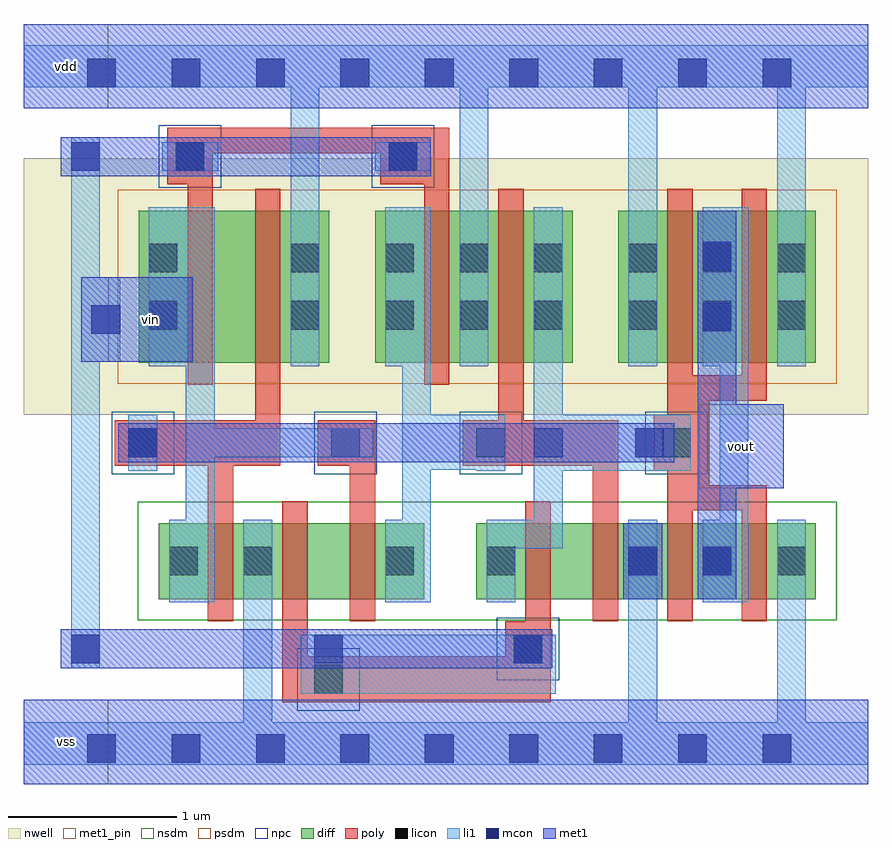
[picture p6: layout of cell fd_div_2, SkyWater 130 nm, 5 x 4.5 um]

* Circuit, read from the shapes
.subckt fd_div_2 vdd vin vout vss
XM1 vss sky130_fd_pr__nfet_01v8_sc_dff_m8_3/D sky130_fd_pr__nfet_01v8_sc_dff_m3_8/D VSUBS sky130_fd_pr__nfet_01v8 w=0.45 l=0.15
XM2 sky130_fd_pr__nfet_01v8_sc_dff_m6_5/D vin vss VSUBS sky130_fd_pr__nfet_01v8 w=0.45 l=0.15
XM3 sky130_fd_pr__nfet_01v8_sc_dff_m5_6/D sky130_fd_pr__nfet_01v8_sc_dff_m3_8/D sky130_fd_pr__nfet_01v8_sc_dff_m6_5/D VSUBS sky130_fd_pr__nfet_01v8 w=0.45 l=0.15
XM4 sky130_fd_pr__nfet_01v8_sc_dff_m9_2/D vin sky130_fd_pr__nfet_01v8_sc_dff_m8_3/D VSUBS sky130_fd_pr__nfet_01v8 w=0.45 l=0.15
XM5 vss sky130_fd_pr__nfet_01v8_sc_dff_m5_6/D sky130_fd_pr__nfet_01v8_sc_dff_m9_2/D VSUBS sky130_fd_pr__nfet_01v8 w=0.45 l=0.15
XM6 vout sky130_fd_pr__nfet_01v8_sc_dff_m8_3/D vss VSUBS sky130_fd_pr__nfet_01v8 w=0.45 l=0.15 m=2
XM7 sky130_fd_pr__pfet_01v8_sc_dff_m1_10/D vin sky130_fd_pr__nfet_01v8_sc_dff_m3_8/D n1 sky130_fd_pr__pfet_01v8 w=0.9 l=0.15
XM8 vdd sky130_fd_pr__nfet_01v8_sc_dff_m8_3/D sky130_fd_pr__pfet_01v8_sc_dff_m1_10/D n1 sky130_fd_pr__pfet_01v8 w=0.9 l=0.15
XM9 vdd vin sky130_fd_pr__nfet_01v8_sc_dff_m5_6/D n1 sky130_fd_pr__pfet_01v8 w=0.9 l=0.15
XM10 sky130_fd_pr__nfet_01v8_sc_dff_m8_3/D sky130_fd_pr__nfet_01v8_sc_dff_m5_6/D vdd n1 sky130_fd_pr__pfet_01v8 w=0.9 l=0.15
XM11 vout sky130_fd_pr__nfet_01v8_sc_dff_m8_3/D vdd n1 sky130_fd_pr__pfet_01v8 w=0.9 l=0.15 m=2
.ends

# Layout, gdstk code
from math import pi, radians
import gdstk
lib = gdstk.Library(unit=1e-6, precision=1e-09)
def R(c, l, rs):  # rectangles x0, y0, x1, y1
    for r in rs: c.add(gdstk.rectangle(r[:2], r[2:], *l))
def A(c, l, x, y, w, h, nx, ny, dx, dy):  # array of equal rectangles
    R(c, l, [(x+i*dx, y+j*dy, x+i*dx+w, y+j*dy+h) for i in range(nx) for j in range(ny)])
nwell = (64, 20)
diff = (65, 20)
poly = (66, 20)
licon = (66, 44)
li1 = (67, 20)
mcon = (67, 44)
met1_pin = (68, 16)
met1 = (68, 20)
nsdm = (93, 44)
psdm = (94, 20)
npc = (95, 20)

sky130_fd_pr__nfet_01v8_ = lib.new_cell('sky130_fd_pr__nfet_01v8_scc_inv_m2')
R(sky130_fd_pr__nfet_01v8_, diff, [(7.265,-4.22,8.435,-3.77)])
R(sky130_fd_pr__nfet_01v8_, poly, [(7.555,-4.35,7.705,-3.695), (7.995,-4.35,8.145,-3.695), (7.555,-3.695,8.145,-3.545)])
A(sky130_fd_pr__nfet_01v8_, licon, 7.325, -4.08, 0.17, 0.17, 3, 1, 0.44, 0)
A(sky130_fd_pr__nfet_01v8_, li1, 7.325, -4.24, 0.17, 0.49, 3, 1, 0.44, 0)
R(sky130_fd_pr__nfet_01v8_, mcon, [(7.765,-4.08,7.935,-3.91)])
R(sky130_fd_pr__nfet_01v8_, met1, [(7.735,-4.22,7.965,-3.77)])
R(sky130_fd_pr__nfet_01v8_, nsdm, [(7.14,-4.345,8.56,-3.645)])
sky130_fd_pr__nfet_01v8_.add(gdstk.Label('D0', (7.85,-3.995), layer=67, texttype=5))
sky130_fd_pr__nfet_01v8_.add(gdstk.Label('S0', (7.41,-3.995), layer=67, texttype=5))
sky130_fd_pr__nfet_01v8_.add(gdstk.Label('D1', (7.85,-3.995), layer=67, texttype=5))
sky130_fd_pr__nfet_01v8_.add(gdstk.Label('S1', (8.29,-3.995), layer=67, texttype=5))

sky130_fd_pr__pfet_01v8_ = lib.new_cell('sky130_fd_pr__pfet_01v8_scc_inv_m1')
R(sky130_fd_pr__pfet_01v8_, nwell, [(6.85,-4.65,8.38,-3.13)])
R(sky130_fd_pr__pfet_01v8_, diff, [(7.03,-4.34,8.2,-3.44)])
R(sky130_fd_pr__pfet_01v8_, poly, [(7.32,-4.565,7.91,-4.415), (7.32,-4.415,7.47,-3.31), (7.76,-4.415,7.91,-3.31)])
A(sky130_fd_pr__pfet_01v8_, licon, 7.09, -4.145, 0.17, 0.17, 3, 2, 0.44, 0.34)
A(sky130_fd_pr__pfet_01v8_, li1, 7.09, -4.36, 0.17, 0.94, 3, 1, 0.44, 0)
R(sky130_fd_pr__pfet_01v8_, mcon, [(7.53,-4.155,7.7,-3.985), (7.53,-3.795,7.7,-3.625)])
R(sky130_fd_pr__pfet_01v8_, met1, [(7.5,-4.34,7.73,-3.44)])
R(sky130_fd_pr__pfet_01v8_, psdm, [(6.905,-4.465,8.325,-3.315)])
sky130_fd_pr__pfet_01v8_.add(gdstk.Label('D0', (7.615,-3.89), layer=67, texttype=5))
sky130_fd_pr__pfet_01v8_.add(gdstk.Label('S0', (7.175,-3.89), layer=67, texttype=5))
sky130_fd_pr__pfet_01v8_.add(gdstk.Label('D1', (7.615,-3.89), layer=67, texttype=5))
sky130_fd_pr__pfet_01v8_.add(gdstk.Label('S1', (8.055,-3.89), layer=67, texttype=5))

c_sky130_fd_pr__nfet_01v8_ = lib.new_cell('sky130_fd_pr__nfet_01v8_sc_dff_m9')
R(c_sky130_fd_pr__nfet_01v8_, diff, [(-0.325,-0.225,0.365,0.225)])
R(c_sky130_fd_pr__nfet_01v8_, poly, [(-0.075,-0.355,0.075,0.355)])
R(c_sky130_fd_pr__nfet_01v8_, licon, [(0.135,-0.085,0.305,0.085)])
R(c_sky130_fd_pr__nfet_01v8_, li1, [(0.135,-0.245,0.305,0.245)])
R(c_sky130_fd_pr__nfet_01v8_, mcon, [(0.135,-0.085,0.305,0.085)])
R(c_sky130_fd_pr__nfet_01v8_, met1, [(0.105,-0.225,0.335,0.225)])
R(c_sky130_fd_pr__nfet_01v8_, nsdm, [(-0.45,-0.35,0.49,0.35)])
c_sky130_fd_pr__nfet_01v8_.add(gdstk.Label('D', (-0.22,0), layer=65, texttype=6))
c_sky130_fd_pr__nfet_01v8_.add(gdstk.Label('S', (0.22,0), layer=67, texttype=5))

c_sky130_fd_pr__nfet_01v8__ = lib.new_cell('sky130_fd_pr__nfet_01v8_sc_dff_m8')
R(c_sky130_fd_pr__nfet_01v8__, diff, [(-0.365,-0.225,0.325,0.225)])
R(c_sky130_fd_pr__nfet_01v8__, poly, [(-0.075,-0.355,0.075,0.355)])
R(c_sky130_fd_pr__nfet_01v8__, licon, [(-0.305,-0.085,-0.135,0.085)])
R(c_sky130_fd_pr__nfet_01v8__, li1, [(-0.305,-0.245,-0.135,0.245)])
R(c_sky130_fd_pr__nfet_01v8__, nsdm, [(-0.49,-0.35,0.45,0.35)])
c_sky130_fd_pr__nfet_01v8__.add(gdstk.Label('D', (-0.22,0), layer=67, texttype=5))
c_sky130_fd_pr__nfet_01v8__.add(gdstk.Label('S', (0.22,0), layer=65, texttype=6))

c_sky130_fd_pr__pfet_01v8_ = lib.new_cell('sky130_fd_pr__pfet_01v8_sc_dff_m7')
R(c_sky130_fd_pr__pfet_01v8_, nwell, [(-0.545,-0.76,0.545,0.76)])
R(c_sky130_fd_pr__pfet_01v8_, diff, [(-0.365,-0.45,0.365,0.45)])
R(c_sky130_fd_pr__pfet_01v8_, poly, [(-0.075,-0.58,0.075,0.58)])
R(c_sky130_fd_pr__pfet_01v8_, licon, [(-0.305,-0.255,-0.135,-0.085), (0.135,-0.255,0.305,-0.085), (-0.305,0.085,-0.135,0.255), (0.135,0.085,0.305,0.255)])
R(c_sky130_fd_pr__pfet_01v8_, li1, [(-0.305,-0.47,-0.135,0.47), (0.135,-0.47,0.305,0.47)])
R(c_sky130_fd_pr__pfet_01v8_, psdm, [(-0.49,-0.575,0.49,0.575)])
c_sky130_fd_pr__pfet_01v8_.add(gdstk.Label('D', (-0.22,0), layer=67, texttype=5))
c_sky130_fd_pr__pfet_01v8_.add(gdstk.Label('S', (0.22,0), layer=67, texttype=5))

c_sky130_fd_pr__nfet_01v8___ = lib.new_cell('sky130_fd_pr__nfet_01v8_sc_dff_m6')
R(c_sky130_fd_pr__nfet_01v8___, diff, [(-0.325,-0.225,0.365,0.225)])
R(c_sky130_fd_pr__nfet_01v8___, poly, [(-0.075,-0.355,0.075,0.355)])
R(c_sky130_fd_pr__nfet_01v8___, licon, [(0.135,-0.085,0.305,0.085)])
R(c_sky130_fd_pr__nfet_01v8___, li1, [(0.135,-0.245,0.305,0.245)])
R(c_sky130_fd_pr__nfet_01v8___, nsdm, [(-0.45,-0.35,0.49,0.35)])
c_sky130_fd_pr__nfet_01v8___.add(gdstk.Label('D', (-0.22,0), layer=65, texttype=6))
c_sky130_fd_pr__nfet_01v8___.add(gdstk.Label('S', (0.22,0), layer=67, texttype=5))

c_sky130_fd_pr__nfet_01v8____ = lib.new_cell('sky130_fd_pr__nfet_01v8_sc_dff_m5')
R(c_sky130_fd_pr__nfet_01v8____, diff, [(-0.365,-0.225,0.325,0.225)])
R(c_sky130_fd_pr__nfet_01v8____, poly, [(-0.075,-0.355,0.075,0.355)])
R(c_sky130_fd_pr__nfet_01v8____, licon, [(-0.305,-0.085,-0.135,0.085)])
R(c_sky130_fd_pr__nfet_01v8____, li1, [(-0.305,-0.245,-0.135,0.245)])
R(c_sky130_fd_pr__nfet_01v8____, nsdm, [(-0.49,-0.35,0.45,0.35)])
c_sky130_fd_pr__nfet_01v8____.add(gdstk.Label('D', (-0.22,0), layer=67, texttype=5))
c_sky130_fd_pr__nfet_01v8____.add(gdstk.Label('S', (0.22,0), layer=65, texttype=6))

c_sky130_fd_pr__pfet_01v8__ = lib.new_cell('sky130_fd_pr__pfet_01v8_sc_dff_m4')
R(c_sky130_fd_pr__pfet_01v8__, nwell, [(-0.545,-0.76,0.545,0.76)])
R(c_sky130_fd_pr__pfet_01v8__, diff, [(-0.365,-0.45,0.365,0.45)])
R(c_sky130_fd_pr__pfet_01v8__, poly, [(-0.075,-0.58,0.075,0.58)])
R(c_sky130_fd_pr__pfet_01v8__, licon, [(-0.305,-0.255,-0.135,-0.085), (0.135,-0.255,0.305,-0.085), (-0.305,0.085,-0.135,0.255), (0.135,0.085,0.305,0.255)])
R(c_sky130_fd_pr__pfet_01v8__, li1, [(-0.305,-0.47,-0.135,0.47), (0.135,-0.47,0.305,0.47)])
R(c_sky130_fd_pr__pfet_01v8__, psdm, [(-0.49,-0.575,0.49,0.575)])
c_sky130_fd_pr__pfet_01v8__.add(gdstk.Label('D', (-0.22,0), layer=67, texttype=5))
c_sky130_fd_pr__pfet_01v8__.add(gdstk.Label('S', (0.22,0), layer=67, texttype=5))

c_sky130_fd_pr__nfet_01v8_____ = lib.new_cell('sky130_fd_pr__nfet_01v8_sc_dff_m3')
R(c_sky130_fd_pr__nfet_01v8_____, diff, [(4.75,-7.11,5.48,-6.66)])
R(c_sky130_fd_pr__nfet_01v8_____, poly, [(5.04,-7.24,5.19,-6.53)])
R(c_sky130_fd_pr__nfet_01v8_____, licon, [(4.81,-6.97,4.98,-6.8), (5.25,-6.97,5.42,-6.8)])
R(c_sky130_fd_pr__nfet_01v8_____, li1, [(4.81,-7.13,4.98,-6.64), (5.25,-7.13,5.42,-6.64)])
R(c_sky130_fd_pr__nfet_01v8_____, nsdm, [(4.625,-7.235,5.605,-6.535)])
c_sky130_fd_pr__nfet_01v8_____.add(gdstk.Label('D', (4.895,-6.885), layer=67, texttype=5))
c_sky130_fd_pr__nfet_01v8_____.add(gdstk.Label('S', (5.335,-6.885), layer=67, texttype=5))

c_sky130_fd_pr__pfet_01v8___ = lib.new_cell('sky130_fd_pr__pfet_01v8_sc_dff_m2')
R(c_sky130_fd_pr__pfet_01v8___, nwell, [(-0.545,-0.76,0.505,0.76)])
R(c_sky130_fd_pr__pfet_01v8___, diff, [(-0.365,-0.45,0.325,0.45)])
R(c_sky130_fd_pr__pfet_01v8___, poly, [(-0.075,-0.58,0.075,0.58)])
R(c_sky130_fd_pr__pfet_01v8___, licon, [(-0.305,-0.255,-0.135,-0.085), (-0.305,0.085,-0.135,0.255)])
R(c_sky130_fd_pr__pfet_01v8___, li1, [(-0.305,-0.47,-0.135,0.47)])
R(c_sky130_fd_pr__pfet_01v8___, psdm, [(-0.49,-0.575,0.45,0.575)])
c_sky130_fd_pr__pfet_01v8___.add(gdstk.Label('D', (-0.22,0), layer=67, texttype=5))
c_sky130_fd_pr__pfet_01v8___.add(gdstk.Label('S', (0.22,0), layer=65, texttype=6))

c_sky130_fd_pr__pfet_01v8____ = lib.new_cell('sky130_fd_pr__pfet_01v8_sc_dff_m1')
R(c_sky130_fd_pr__pfet_01v8____, nwell, [(-0.545,-0.76,0.545,0.76)])
R(c_sky130_fd_pr__pfet_01v8____, diff, [(-0.325,-0.45,0.365,0.45)])
R(c_sky130_fd_pr__pfet_01v8____, poly, [(-0.075,-0.58,0.075,0.58)])
R(c_sky130_fd_pr__pfet_01v8____, licon, [(0.135,-0.255,0.305,-0.085), (0.135,0.085,0.305,0.255)])
R(c_sky130_fd_pr__pfet_01v8____, li1, [(0.135,-0.47,0.305,0.47)])
R(c_sky130_fd_pr__pfet_01v8____, psdm, [(-0.45,-0.575,0.49,0.575)])
c_sky130_fd_pr__pfet_01v8____.add(gdstk.Label('D', (-0.22,0), layer=65, texttype=6))
c_sky130_fd_pr__pfet_01v8____.add(gdstk.Label('S', (0.22,0), layer=67, texttype=5))

fd_div_2 = lib.new_cell('fd_div_2')
R(fd_div_2, nwell, [(-1,-7.065,4,-5.545)])
R(fd_div_2, poly, [(0.53,-8.765,2.12,-8.495), (0.53,-8.495,0.68,-8.285), (1.85,-8.495,2.12,-8.285), (0.09,-7.575,0.24,-7.365), (0.93,-7.575,1.08,-7.365), (2.37,-7.575,2.52,-7.365), (2.81,-7.48,3.06,-7.395), (2.73,-7.395,3.06,-7.065), (-0.46,-7.365,0.52,-7.095), (0.74,-7.365,1.08,-7.095), (1.6,-7.365,2.52,-7.095), (0.37,-7.095,0.52,-6.885), (1.81,-7.095,1.96,-6.885), (2.81,-7.065,3.06,-6.98), (1.37,-5.745,1.52,-5.7), (-0.03,-5.725,0.12,-5.7), (-0.15,-5.7,0.12,-5.515), (1.11,-5.7,1.52,-5.515), (-0.15,-5.515,1.52,-5.365)])
R(fd_div_2, licon, [(0.72,-8.715,0.89,-8.545), (1.9,-8.535,2.07,-8.365), (-0.38,-7.315,-0.21,-7.145), (0.82,-7.315,0.99,-7.145), (1.68,-7.315,1.85,-7.145), (2.78,-7.315,2.95,-7.145), (-0.1,-5.62,0.07,-5.45), (1.16,-5.62,1.33,-5.45)])
A(fd_div_2, li1, 0.58, -5.835, 0.17, 0.71, 3, 1, 1, 0)
R(fd_div_2, li1, [(-1,-9.135,4,-8.885), (0.3,-8.885,0.47,-8.175), (2.58,-8.885,2.75,-8.175), (3.46,-8.885,3.63,-8.175), (0.64,-8.715,2.15,-8.365), (-0.72,-8.565,-0.55,-6.75), (-0.04,-8.175,0.13,-7.315), (1.24,-8.175,1.41,-7.39), (3.12,-8.175,3.29,-5.835), (1.91,-7.855,2.19,-7.685), (2.02,-7.685,2.19,-7.395), (-0.38,-7.395,-0.21,-7.065), (1.68,-7.395,1.85,-7.39), (2.02,-7.395,2.95,-7.065), (1.24,-7.39,1.85,-7.065), (-0.04,-7.315,1.07,-7.145), (-0.04,-7.145,0.13,-6.775), (1.24,-7.065,1.41,-5.835), (2.02,-7.065,2.19,-6.775), (-0.09,-6.775,0.13,-5.835), (-0.72,-6.75,-0.43,-6.25), (-0.72,-6.25,-0.55,-5.42), (3.46,-5.835,3.63,-5.125), (-0.18,-5.62,0.15,-5.45), (1.08,-5.62,1.41,-5.45), (-1,-5.125,4,-4.875)])
A(fd_div_2, mcon, -0.625, -9.125, 0.17, 0.17, 9, 2, 0.5, 4)
R(fd_div_2, mcon, [(-0.72,-8.535,-0.55,-8.365), (0.72,-8.535,0.89,-8.365), (1.9,-8.535,2.07,-8.365), (-0.38,-7.315,-0.21,-7.145), (2.02,-7.315,2.19,-7.145), (2.62,-7.315,2.79,-7.145), (-0.6,-6.585,-0.43,-6.415), (-0.72,-5.62,-0.55,-5.45), (-0.1,-5.62,0.07,-5.45), (1.16,-5.62,1.33,-5.45)])
R(fd_div_2, met1_pin, [(-1,-9.25,-0.5,-8.75), (3,-7.5,3.5,-7), (-0.5,-6.75,0,-6.25), (-1,-5.25,-0.5,-4.75)])
R(fd_div_2, met1, [(-1,-9.25,4,-8.75), (-0.78,-8.565,2.13,-8.335), (2.99,-7.705,3.22,-7.5), (2.99,-7.5,3.5,-7), (-0.44,-7.345,2.85,-7.115), (2.99,-7,3.22,-6.755), (-0.66,-6.75,0,-6.25), (-0.78,-5.65,1.41,-5.42), (-1,-5.25,4,-4.75)])
R(fd_div_2, nsdm, [(1.495,-8.28,1.555,-7.58)])
R(fd_div_2, psdm, [(0.935,-6.88,0.955,-5.73), (2.375,-6.88,2.395,-5.73)])
R(fd_div_2, npc, [(0.62,-8.815,0.99,-8.445), (1.8,-8.635,2.17,-8.265), (-0.48,-7.415,-0.11,-7.045), (0.72,-7.415,1.09,-7.045), (1.58,-7.415,1.95,-7.045), (2.68,-7.415,3.05,-7.045), (-0.2,-5.72,0.17,-5.35), (1.06,-5.72,1.43,-5.35)])
fd_div_2.add(gdstk.Reference(sky130_fd_pr__nfet_01v8_, (-4.745,-3.935)))
fd_div_2.add(gdstk.Reference(sky130_fd_pr__pfet_01v8_, (-4.51,-2.415)))
fd_div_2.add(gdstk.Reference(c_sky130_fd_pr__nfet_01v8_, (2.445,-7.93)))
fd_div_2.add(gdstk.Reference(c_sky130_fd_pr__nfet_01v8__, (2.045,-7.93)))
fd_div_2.add(gdstk.Reference(c_sky130_fd_pr__pfet_01v8_, (1.885,-6.305), rotation=pi))
fd_div_2.add(gdstk.Reference(c_sky130_fd_pr__nfet_01v8___, (0.605,-7.93), rotation=pi))
fd_div_2.add(gdstk.Reference(c_sky130_fd_pr__nfet_01v8____, (1.005,-7.93), rotation=pi))
fd_div_2.add(gdstk.Reference(c_sky130_fd_pr__pfet_01v8__, (1.445,-6.305)))
fd_div_2.add(gdstk.Reference(c_sky130_fd_pr__nfet_01v8_____, (-4.95,-1.045)))
fd_div_2.add(gdstk.Reference(c_sky130_fd_pr__pfet_01v8___, (0.045,-6.305)))
fd_div_2.add(gdstk.Reference(c_sky130_fd_pr__pfet_01v8____, (0.445,-6.305)))
fd_div_2.add(gdstk.Label('vdd', (-0.75,-5), layer=68, texttype=5))
fd_div_2.add(gdstk.Label('vss', (-0.75,-9), layer=68, texttype=5))
fd_div_2.add(gdstk.Label('vin', (-0.25,-6.5), layer=68, texttype=5))
fd_div_2.add(gdstk.Label('vout', (3.25,-7.25), layer=68, texttype=5))

lib.write_gds('fd_div_2.gds')
